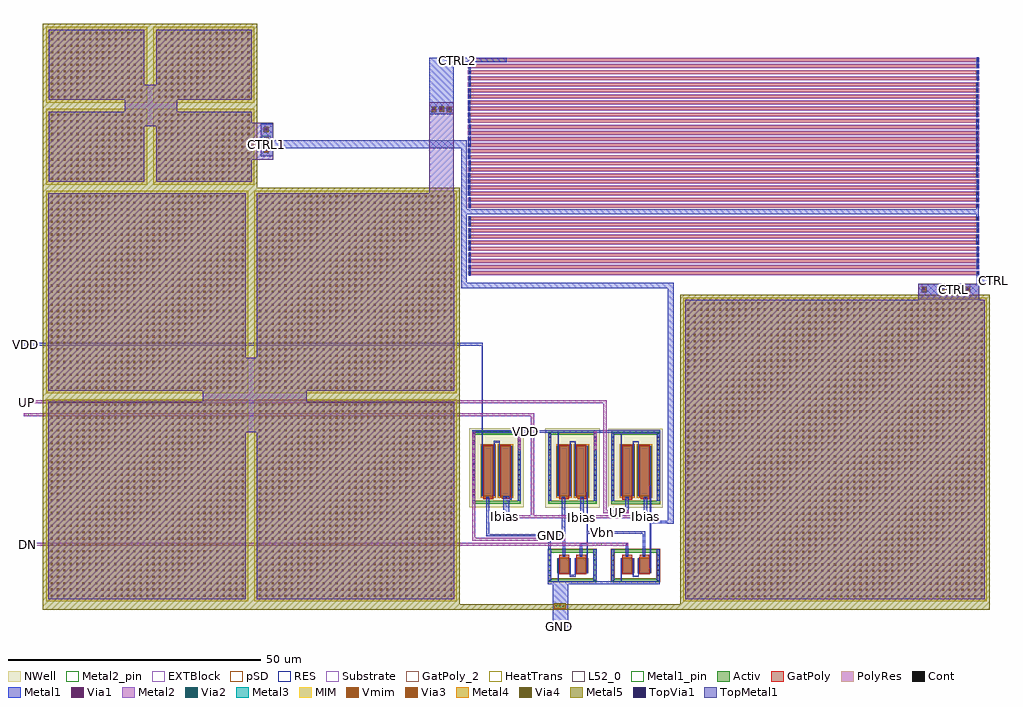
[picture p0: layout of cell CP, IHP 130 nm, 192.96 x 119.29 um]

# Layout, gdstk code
from math import pi, radians
import gdstk
lib = gdstk.Library(unit=1e-6, precision=1e-09)
def R(c, l, rs):  # rectangles x0, y0, x1, y1
    for r in rs: c.add(gdstk.rectangle(r[:2], r[2:], *l))
def A(c, l, x, y, w, h, nx, ny, dx, dy):  # array of equal rectangles
    R(c, l, [(x+i*dx, y+j*dy, x+i*dx+w, y+j*dy+h) for i in range(nx) for j in range(ny)])
def P(c, l, *ps):  # polygons
    for p in ps: c.add(gdstk.Polygon(p, *l))
Activ = (1, 0)
GatPoly = (5, 0)
GatPoly_2 = (5, 2)
Cont = (6, 0)
Metal1 = (8, 0)
Metal1_pin = (8, 2)
Metal2 = (10, 0)
Metal2_pin = (10, 2)
pSD = (14, 0)
Via1 = (19, 0)
RES = (24, 0)
Via2 = (29, 0)
Metal3 = (30, 0)
NWell = (31, 0)
MIM = (36, 0)
Substrate = (40, 0)
Via3 = (49, 0)
Metal4 = (50, 0)
HeatTrans = (51, 0)
L52_0 = (52, 0)
Via4 = (66, 0)
Metal5 = (67, 0)
EXTBlock = (111, 0)
TopVia1 = (125, 0)
TopMetal1 = (126, 0)
PolyRes = (128, 0)
Vmim = (129, 0)

rsil_1 = lib.new_cell('rsil$1')
R(rsil_1, GatPoly, [(0,-0.35,0.5,0), (0,100,0.5,100.35)])
R(rsil_1, Cont, [(0.07,-0.28,0.43,-0.12), (0.07,100.12,0.43,100.28)])
R(rsil_1, Metal1, [(0.02,-0.33,0.48,-0.07), (0.02,100.07,0.48,100.33)])
R(rsil_1, Metal1_pin, [(0.02,-0.33,0.48,-0.07), (0.02,100.07,0.48,100.33)])
R(rsil_1, RES, [(0,0,0.5,100)])
R(rsil_1, L52_0, [(0,0,0.5,100)])
R(rsil_1, EXTBlock, [(-0.18,-0.53,0.68,0), (-0.18,0,0.68,100), (-0.18,0,0.68,100.53)])
R(rsil_1, PolyRes, [(0,0,0.5,100)])
rsil_1.add(gdstk.Label('rsil r=1.39k', (0.25,50), layer=63, texttype=0))
rsil_1.add(gdstk.Label('rsil', (0.25,50), layer=52, texttype=0))

pmos_1_2 = lib.new_cell('pmos$1$2')
R(pmos_1_2, Activ, [(0,0,0.3,0.3), (0,0,2.68,10), (2.38,0,2.68,0.3)])
R(pmos_1_2, GatPoly, [(0.34,-0.18,2.34,10.18), (0.34,-0.18,2.34,10.18)])
A(pmos_1_2, Cont, 0.07, 0.07, 0.16, 0.16, 1, 4, 0, 0.345)
A(pmos_1_2, Cont, 2.45, 0.07, 0.16, 0.16, 1, 4, 0, 0.345)
A(pmos_1_2, Cont, 0.07, 1.455, 0.16, 0.16, 1, 3, 0, 0.345)
A(pmos_1_2, Cont, 2.45, 1.455, 0.16, 0.16, 1, 3, 0, 0.345)
A(pmos_1_2, Cont, 0.07, 2.495, 0.16, 0.16, 1, 4, 0, 0.345)
A(pmos_1_2, Cont, 2.45, 2.495, 0.16, 0.16, 1, 4, 0, 0.345)
A(pmos_1_2, Cont, 0.07, 3.88, 0.16, 0.16, 1, 3, 0, 0.345)
A(pmos_1_2, Cont, 2.45, 3.88, 0.16, 0.16, 1, 3, 0, 0.345)
A(pmos_1_2, Cont, 0.07, 4.92, 0.16, 0.16, 1, 4, 0, 0.345)
A(pmos_1_2, Cont, 2.45, 4.92, 0.16, 0.16, 1, 4, 0, 0.345)
A(pmos_1_2, Cont, 0.07, 6.305, 0.16, 0.16, 1, 3, 0, 0.345)
A(pmos_1_2, Cont, 2.45, 6.305, 0.16, 0.16, 1, 3, 0, 0.345)
A(pmos_1_2, Cont, 0.07, 7.345, 0.16, 0.16, 1, 4, 0, 0.345)
A(pmos_1_2, Cont, 2.45, 7.345, 0.16, 0.16, 1, 4, 0, 0.345)
A(pmos_1_2, Cont, 0.07, 8.73, 0.16, 0.16, 1, 3, 0, 0.345)
A(pmos_1_2, Cont, 2.45, 8.73, 0.16, 0.16, 1, 3, 0, 0.345)
R(pmos_1_2, Cont, [(0.07,9.77,0.23,9.93), (2.45,9.77,2.61,9.93)])
R(pmos_1_2, Metal1, [(0.07,0,0.23,10), (0.07,0,0.23,10), (2.45,0,2.61,10), (2.45,0,2.61,10)])
R(pmos_1_2, pSD, [(-0.18,-0.3,2.86,10.3)])
R(pmos_1_2, NWell, [(-0.31,-0.31,2.99,10.31)])
R(pmos_1_2, Substrate, [(2.38,0,2.68,0.3)])
R(pmos_1_2, HeatTrans, [(0.34,-0.18,2.34,10.18)])
pmos_1_2.add(gdstk.Label('pmos', (1.34,5), layer=63, texttype=0))
pmos_1_2.add(gdstk.Label('pmos', (1.34,5), layer=51, texttype=0))

nmos_1_2 = lib.new_cell('nmos$1$2')
R(nmos_1_2, Activ, [(0,0,0.3,0.3), (0,0,2.68,3), (2.38,0,2.68,0.3)])
R(nmos_1_2, GatPoly, [(0.34,-0.18,2.34,3.18)])
R(nmos_1_2, GatPoly_2, [(0.34,-0.18,2.34,3.18)])
A(nmos_1_2, Cont, 0.07, 0.07, 0.16, 0.16, 1, 7, 0, 0.385)
A(nmos_1_2, Cont, 2.45, 0.07, 0.16, 0.16, 1, 7, 0, 0.385)
R(nmos_1_2, Cont, [(0.07,2.77,0.23,2.93), (2.45,2.77,2.61,2.93)])
R(nmos_1_2, Metal1, [(0.07,0,0.23,3), (2.45,0,2.61,3)])
R(nmos_1_2, Metal1_pin, [(0.07,0,0.23,3), (2.45,0,2.61,3)])
R(nmos_1_2, HeatTrans, [(0.34,-0.18,2.34,3.18)])
nmos_1_2.add(gdstk.Label('nmos', (1.34,1.5), layer=63, texttype=0))
nmos_1_2.add(gdstk.Label('nmos', (1.34,1.5), layer=51, texttype=0))

cmim_5_1 = lib.new_cell('cmim$5$1')
R(cmim_5_1, MIM, [(0,0,60,60)])
R(cmim_5_1, Metal5, [(-0.6,-0.6,60.6,60.6)])
R(cmim_5_1, TopMetal1, [(0.385,0.385,59.605,59.605)])
A(cmim_5_1, Vmim, 0.805, 0.805, 0.42, 0.42, 47, 47, 1.26, 1.26)

cmim_2_1 = lib.new_cell('cmim$2$1')
R(cmim_2_1, MIM, [(0,0,40,40)])
R(cmim_2_1, Metal5, [(-0.6,-0.6,40.6,40.6)])
R(cmim_2_1, TopMetal1, [(0.465,0.465,39.525,39.525)])
A(cmim_2_1, Vmim, 0.885, 0.885, 0.42, 0.42, 31, 31, 1.26, 1.26)

cmim_1_1 = lib.new_cell('cmim$1$1')
R(cmim_1_1, MIM, [(0,0,15,20)])
R(cmim_1_1, Metal5, [(-0.6,-0.6,15.6,20.6)])
R(cmim_1_1, TopMetal1, [(0.565,0.545,14.425,19.445)])
A(cmim_1_1, Vmim, 0.985, 0.965, 0.42, 0.42, 11, 15, 1.26, 1.26)

c_cp = lib.new_cell('CP')
R(c_cp, Activ, [(-64.36,-10.105,-55.36,-9.455), (-55.36,-10.105,-54.72,-4.3), (-42.865,-10.105,-42.225,-4.3), (-51.86,-10.1,-42.86,-9.45), (-64.36,-9.455,-63.72,-3.665), (-51.865,-9.455,-51.225,-3.665), (-63.72,-4.3,-54.72,-3.66), (-51.225,-4.3,-42.225,-3.66), (-51.83,5.285,-51.19,19.575), (-51.19,5.285,-42.19,5.925), (-64.31,5.315,-63.67,19.605), (-63.67,5.315,-54.67,5.955), (-79.33,5.335,-78.69,19.625), (-78.69,5.335,-69.69,5.975), (-42.83,5.925,-42.19,18.935), (-55.31,5.955,-54.67,18.965), (-70.33,5.975,-69.69,18.985), (-51.19,18.935,-42.19,19.575), (-63.67,18.965,-54.67,19.605), (-78.69,18.985,-69.69,19.625)])
R(c_cp, GatPoly, [(-58.735,-5.27,-56.77,-4.75), (-46.24,-5.27,-44.275,-4.75), (-62.135,-5.255,-60.17,-4.735), (-49.64,-5.255,-47.675,-4.735), (-49.62,6.17,-47.705,6.69), (-62.065,6.2,-60.185,6.72), (-77.105,6.22,-75.205,6.74), (-46.005,6.235,-44.245,6.755), (-58.485,6.265,-56.79,6.785), (-73.505,6.285,-71.755,6.805)])
R(c_cp, Cont, [(-64.08,-9.935,-63.92,-9.775), (-51.575,-9.915,-51.415,-9.755), (-42.62,-9.9,-42.46,-9.74), (-55.14,-9.865,-54.98,-9.705), (-64.09,-8.91,-63.93,-8.75), (-51.585,-8.89,-51.425,-8.73), (-42.63,-8.875,-42.47,-8.715), (-55.15,-8.84,-54.99,-8.68), (-64.08,-7.925,-63.92,-7.765), (-51.575,-7.905,-51.415,-7.745), (-42.62,-7.89,-42.46,-7.73), (-55.14,-7.855,-54.98,-7.695), (-64.055,-6.935,-63.895,-6.775), (-51.55,-6.915,-51.39,-6.755), (-42.595,-6.9,-42.435,-6.74), (-55.115,-6.865,-54.955,-6.705), (-64.085,-5.915,-63.925,-5.755), (-51.58,-5.895,-51.42,-5.735), (-42.625,-5.88,-42.465,-5.72), (-55.145,-5.845,-54.985,-5.685), (-45.395,-5.055,-45.235,-4.895), (-57.915,-5.045,-57.755,-4.885), (-48.815,-5.03,-48.655,-4.87), (-61.33,-5.025,-61.17,-4.865), (-64.085,-4.925,-63.925,-4.765), (-51.58,-4.905,-51.42,-4.745), (-42.625,-4.89,-42.465,-4.73), (-55.145,-4.855,-54.985,-4.695), (-57.645,6.42,-57.485,6.58), (-61.32,6.425,-61.16,6.585), (-48.755,6.435,-48.595,6.595), (-45.12,6.44,-44.96,6.6), (-76.355,6.445,-76.195,6.605), (-72.665,6.455,-72.505,6.615), (-51.6,6.93,-51.44,7.09), (-55.1,6.935,-54.94,7.095), (-64.115,6.94,-63.955,7.1), (-42.64,6.94,-42.48,7.1), (-70.12,6.98,-69.96,7.14), (-79.1,7.015,-78.94,7.175), (-51.59,7.915,-51.43,8.075), (-55.09,7.92,-54.93,8.08), (-64.105,7.925,-63.945,8.085), (-42.63,7.925,-42.47,8.085), (-70.11,7.965,-69.95,8.125), (-79.09,8,-78.93,8.16), (-51.6,8.94,-51.44,9.1), (-55.1,8.945,-54.94,9.105), (-64.115,8.95,-63.955,9.11), (-42.64,8.95,-42.48,9.11), (-70.12,8.99,-69.96,9.15), (-79.1,9.025,-78.94,9.185), (-51.59,9.925,-51.43,10.085), (-55.09,9.93,-54.93,10.09), (-64.105,9.935,-63.945,10.095), (-42.63,9.935,-42.47,10.095), (-70.11,9.975,-69.95,10.135), (-79.09,10.01,-78.93,10.17), (-51.565,10.915,-51.405,11.075), (-55.065,10.92,-54.905,11.08), (-64.08,10.925,-63.92,11.085), (-42.605,10.925,-42.445,11.085), (-70.085,10.965,-69.925,11.125), (-79.065,11,-78.905,11.16), (-51.595,11.935,-51.435,12.095), (-55.095,11.94,-54.935,12.1), (-64.11,11.945,-63.95,12.105), (-42.635,11.945,-42.475,12.105), (-70.115,11.985,-69.955,12.145), (-79.095,12.02,-78.935,12.18), (-51.595,12.925,-51.435,13.085), (-55.095,12.93,-54.935,13.09), (-64.11,12.935,-63.95,13.095), (-42.635,12.935,-42.475,13.095), (-70.115,12.975,-69.955,13.135), (-79.095,13.01,-78.935,13.17), (-51.595,13.905,-51.435,14.065), (-55.095,13.91,-54.935,14.07), (-64.11,13.915,-63.95,14.075), (-42.635,13.915,-42.475,14.075), (-70.115,13.955,-69.955,14.115), (-79.095,13.99,-78.935,14.15), (-51.6,14.905,-51.44,15.065), (-55.1,14.91,-54.94,15.07), (-64.115,14.915,-63.955,15.075), (-42.64,14.915,-42.48,15.075), (-70.12,14.955,-69.96,15.115), (-79.1,14.99,-78.94,15.15), (-51.58,15.94,-51.42,16.1), (-55.08,15.945,-54.92,16.105), (-64.095,15.95,-63.935,16.11), (-42.62,15.95,-42.46,16.11), (-70.1,15.99,-69.94,16.15), (-79.08,16.025,-78.92,16.185), (-51.595,16.91,-51.435,17.07), (-55.095,16.915,-54.935,17.075), (-64.11,16.92,-63.95,17.08), (-42.635,16.92,-42.475,17.08), (-70.115,16.96,-69.955,17.12), (-79.095,16.995,-78.935,17.155), (-51.585,17.665,-51.425,17.825), (-55.085,17.67,-54.925,17.83), (-64.1,17.675,-63.94,17.835), (-42.625,17.675,-42.465,17.835), (-70.105,17.715,-69.945,17.875), (-79.085,17.75,-78.925,17.91), (-51.575,18.425,-51.415,18.585), (-55.075,18.43,-54.915,18.59), (-64.09,18.435,-63.93,18.595), (-42.615,18.435,-42.455,18.595), (-70.095,18.475,-69.935,18.635), (-79.075,18.51,-78.915,18.67), (-51.575,19.165,-51.415,19.325), (-55.075,19.17,-54.915,19.33), (-64.09,19.175,-63.93,19.335), (-42.615,19.175,-42.455,19.335), (-70.095,19.215,-69.935,19.375), (-79.075,19.25,-78.915,19.41)])
R(c_cp, Metal1, [(-63.385,-19.065,-60.36,-10.535), (-63.14,-15.5,-60.83,-14.38), (-64.36,-10.535,-63.72,-3.665), (-63.72,-10.535,-55.36,-10.005), (-62.42,-10.535,-62.25,-7.18), (-55.36,-10.535,-54.72,-3.66), (-54.73,-10.535,-42.865,-10.005), (-49.925,-10.535,-49.755,-7.18), (-42.865,-10.535,-42.225,-3.66), (-51.865,-10.01,-51.225,-3.665), (-60.045,-9.08,-59.875,-7.565), (-59.875,-9.08,-59.02,-8.69), (-59.02,-9.08,-58.85,-7.565), (-47.55,-9.08,-47.38,-7.565), (-47.38,-9.08,-46.525,-8.865), (-46.525,-9.08,-46.355,-7.565), (-44.18,-7.365,-43.915,8.94), (-56.63,-5.685,-56.46,-3.39), (-58.08,-5.185,-57.58,-2.515), (-61.45,-5.165,-60.95,-1.415), (-45.625,-5.165,-45.125,-0.635), (-48.975,-5.155,-48.475,-2.365), (-56.635,-5,-56.465,7.635), (-64.275,-3.845,-63.775,-1.135), (-57.58,-2.975,-56.635,-2.515), (-61.62,-1.16,-60.94,6.715), (-75.9,-1.135,-61.62,-0.685), (-76.515,-1.13,-75.9,6.77), (-56.635,-0.635,-45.125,-0.105), (-40.655,1.43,-39.505,47.98), (-43.915,1.445,-40.655,1.985), (-73.18,2.445,-72.01,6.795), (-57.94,2.445,-57.26,6.74), (-45.4,2.445,-44.72,6.73), (-49.04,3.495,-48.36,6.73), (-51.83,5.91,-51.19,19.855), (-42.83,5.925,-42.19,19.855), (-79.33,5.94,-78.715,19.905), (-64.31,5.94,-63.67,19.885), (-55.31,5.955,-54.67,19.885), (-70.33,5.975,-69.69,19.905), (-72.01,6.085,-71.64,6.32), (-71.64,6.085,-71.47,7.6), (-47.555,16.195,-47.385,17.715), (-46.52,16.2,-46.35,17.715), (-60.035,16.225,-59.865,17.745), (-59,16.23,-58.83,17.745), (-75.055,16.245,-74.885,17.765), (-74.02,16.25,-73.85,17.765), (-49.93,16.51,-49.76,19.865), (-62.41,16.54,-62.24,19.895), (-77.43,16.56,-77.26,37.16), (-74.885,17.435,-74.02,17.765), (-59.865,17.45,-59,17.745), (-47.385,17.465,-46.52,17.715), (-51.19,19.315,-42.83,19.855), (-63.67,19.345,-55.31,19.885), (-54.685,19.345,-48.66,19.875), (-78.715,19.365,-70.33,19.905), (-70.335,19.365,-64.31,19.895), (-168.03,36.62,-77.43,37.16), (8.835,45.63,20.955,48.84), (-81.515,47.98,-80.365,77.165), (-80.365,47.98,-39.51,49.005), (20.425,48.84,20.96,51.305), (20.425,48.89,24.93,50.43), (-80.015,50.435,-79.605,52.605), (20.41,51.67,20.82,53.84), (-80.01,52.92,-79.6,55.09), (20.415,54.065,20.825,56.235), (-80.05,55.355,-79.64,57.435), (20.375,56.5,20.785,58.58), (-80.035,57.765,-79.625,59.825), (20.395,58.91,20.805,60.97), (-79.995,60.155,-79.585,62.215), (20.33,61.335,20.86,64.67), (-80.365,62.575,20.335,63.58), (-80.045,63.81,-79.635,65.98), (20.375,64.955,20.785,67.125), (-80.075,66.205,-79.665,68.375), (20.42,67.365,20.83,69.535), (-80.07,68.625,-79.66,70.795), (20.35,69.77,20.76,71.94), (-80.04,71.04,-79.63,73.21), (20.38,72.185,20.79,74.355), (-80.07,73.455,-79.66,75.625), (-121.15,74.035,-118.63,80.47), (20.35,74.6,20.76,76.77), (-120.63,75.575,-81.515,77.165), (-80.065,75.805,-79.655,77.975), (20.355,76.95,20.765,79.12), (-80.045,78.185,-79.635,80.355), (20.375,79.33,20.785,81.5), (-80.075,80.6,-79.665,82.77), (20.345,81.745,20.755,83.915), (-87.86,82.33,-82.985,93.54), (-80.07,82.95,-79.66,85.12), (20.35,84.095,20.76,86.265), (-80.065,85.455,-79.655,87.48), (20.355,86.6,20.765,88.68), (-80.025,87.82,-79.615,89.925), (20.395,89.01,20.805,91.07), (-80.03,90.265,-79.62,92.275), (20.39,91.41,20.8,93.58), (-84.985,92.64,-72.45,93.54)])
R(c_cp, Metal1_pin, [(-62.82,-19.05,-61.35,-18.6), (-48.975,-2.96,-48.475,-2.365), (-64.38,-1.135,-62.91,-0.685), (-54.47,-0.635,-52.79,-0.105), (-49.04,3.495,-48.36,4.075), (-79.33,19.405,-42.19,19.855), (-168.03,36.62,-167.305,37.16), (15.165,46.875,17.07,48.33), (23.025,48.945,24.93,50.4), (-120.945,76.01,-119.13,78.09), (-82.985,92.64,-81.75,93.54)])
R(c_cp, Metal2, [(-63.125,-15.46,-60.83,-14.41), (-168.005,-2.96,-48.48,-2.365), (-79.34,-1.93,-60.95,-1.41), (-79.34,-1.41,-78.7,19.585), (-73.18,2.445,-44.72,3.045), (-67.78,3.045,-67.07,23.25), (-52.705,3.495,-48.36,4.095), (-53.385,3.5,-52.705,25.165), (-55.31,15.885,-54.67,19.575), (-70.33,15.905,-69.69,19.595), (-167.97,22.64,-67.78,23.25), (-167.975,25.165,-52.705,25.775), (18.4,47.49,18.915,47.98), (9.74,47.535,10.255,48.025), (13.74,47.65,14.255,48.14), (-120.325,75.105,-119.81,75.595), (-120.285,77.105,-119.77,77.595), (-120.26,79.09,-119.745,79.58), (-84.095,83.13,-83.58,83.62), (-87.14,83.135,-86.625,83.625), (-85.62,83.19,-85.105,83.68)])
R(c_cp, Metal2_pin, [(-168.005,-2.96,-166.96,-2.365), (-54.725,-2.96,-53.68,-2.365), (-61.69,-1.92,-60.99,-1.465), (-73.18,2.445,-72.01,3.045), (-57.94,2.445,-57.26,3.045), (-45.4,2.445,-44.72,3.045), (-50.99,3.495,-49.98,4.095), (-167.97,22.64,-166.96,23.24), (-167.975,25.17,-166.965,25.77)])
R(c_cp, pSD, [(-64.41,-10.165,-55.41,-9.395), (-55.41,-10.165,-54.65,-4.35), (-51.915,-10.165,-42.915,-9.395), (-42.915,-10.165,-42.155,-4.35), (-64.41,-9.395,-63.65,-3.59), (-51.915,-9.395,-51.155,-3.59), (-63.65,-4.35,-54.65,-3.59), (-51.155,-4.35,-42.155,-3.59)])
R(c_cp, Via1, [(-61.37,-14.985,-61.18,-14.795), (-62.755,-14.945,-62.565,-14.755), (-62.07,-14.93,-61.88,-14.74), (-48.79,-2.77,-48.6,-2.58), (-61.29,-1.755,-61.1,-1.565), (-45.165,2.565,-44.975,2.755), (-72.785,2.69,-72.595,2.88), (-57.78,2.72,-57.59,2.91), (-48.815,3.62,-48.625,3.81), (-79.125,7.615,-78.935,7.805), (-79.095,8.98,-78.905,9.17), (-79.1,10.46,-78.91,10.65), (-79.1,11.8,-78.91,11.99), (-79.075,13.245,-78.885,13.435), (-79.07,14.675,-78.88,14.865), (-79.105,16.03,-78.915,16.22), (-79.115,17.435,-78.925,17.625), (-79.2,18.955,-79.01,19.145), (18.48,47.715,18.67,47.905), (9.82,47.76,10.01,47.95), (13.82,47.875,14.01,48.065), (-120.245,75.33,-120.055,75.52), (-120.205,77.33,-120.015,77.52), (-120.18,79.32,-119.99,79.51), (-84.015,83.355,-83.825,83.545), (-87.06,83.36,-86.87,83.55), (-85.54,83.415,-85.35,83.605)])
R(c_cp, Via2, [(-61.37,-14.985,-61.18,-14.795), (-62.755,-14.945,-62.565,-14.755), (-62.07,-14.93,-61.88,-14.74), (18.48,47.715,18.67,47.905), (9.82,47.76,10.01,47.95), (13.82,47.875,14.01,48.065), (-120.245,75.33,-120.055,75.52), (-120.205,77.33,-120.015,77.52), (-120.18,79.32,-119.99,79.51), (-84.015,83.355,-83.825,83.545), (-87.06,83.36,-86.87,83.55), (-85.54,83.415,-85.35,83.605)])
R(c_cp, Metal3, [(-63.14,-15.5,-60.83,-14.38), (18.4,47.38,19.04,47.98), (9.74,47.425,10.38,48.025), (13.74,47.54,14.38,48.14), (-120.325,74.995,-119.685,75.595), (-120.285,76.995,-119.645,77.595), (-120.26,78.985,-119.62,79.585), (-84.095,83.02,-83.455,83.62), (-87.14,83.025,-86.5,83.625), (-85.62,83.08,-84.98,83.68)])
R(c_cp, NWell, [(-52.4,4.56,-41.6,20.205), (-64.88,4.59,-54.08,20.235), (-79.9,4.61,-69.1,20.255)])
R(c_cp, Via3, [(-61.37,-14.985,-61.18,-14.795), (-62.755,-14.945,-62.565,-14.755), (-62.07,-14.93,-61.88,-14.74), (18.48,47.715,18.67,47.905), (9.82,47.76,10.01,47.95), (13.82,47.875,14.01,48.065), (-120.245,75.33,-120.055,75.52), (-120.205,77.33,-120.015,77.52), (-120.18,79.32,-119.99,79.51), (-84.015,83.355,-83.825,83.545), (-87.06,83.36,-86.87,83.55), (-85.54,83.415,-85.35,83.605)])
R(c_cp, Metal4, [(-63.14,-15.44,-60.84,-14.41), (18.4,47.36,19.04,47.98), (9.74,47.405,10.38,48.025), (13.74,47.52,14.38,48.14), (-120.325,74.975,-119.685,75.595), (-120.285,76.975,-119.645,77.595), (-120.26,78.965,-119.62,79.585), (-84.095,83,-83.455,83.62), (-87.14,83.005,-86.5,83.625), (-85.62,83.06,-84.98,83.68)])
R(c_cp, Via4, [(-61.37,-14.985,-61.18,-14.795), (-62.755,-14.945,-62.565,-14.755), (-62.07,-14.93,-61.88,-14.74), (18.48,47.715,18.67,47.905), (9.82,47.76,10.01,47.95), (13.82,47.875,14.01,48.065), (-120.245,75.33,-120.055,75.52), (-120.205,77.33,-120.015,77.52), (-120.18,79.32,-119.99,79.51), (-84.015,83.355,-83.825,83.545), (-87.06,83.36,-86.87,83.55), (-85.54,83.415,-85.35,83.605)])
R(c_cp, Metal5, [(-63.14,-15.5,-60.84,-14.35), (-130.91,20.99,-113.89,32.565), (18.055,47.14,19.16,48.27), (9.51,47.185,10.5,48.26), (13.525,47.3,14.5,48.335), (-120.53,74.755,-119.565,75.835), (-120.46,76.755,-119.525,77.81), (-120.51,78.745,-119.5,79.91), (-146.92,81.235,-140.06,87.19), (-84.35,82.78,-83.335,83.875), (-87.335,82.785,-86.38,83.855), (-85.845,82.84,-84.86,83.92)])
P(c_cp, Metal5, [(-164.175,-15.6),(-164.175,-14.575),(22.995,-14.575),(22.995,-14.32),(22.995,-15.6)])
R(c_cp, TopVia1, [(18.4,47.56,18.82,47.98), (9.74,47.605,10.16,48.025), (13.74,47.72,14.16,48.14), (-120.325,75.175,-119.905,75.595), (-120.285,77.175,-119.865,77.595), (-120.26,79.16,-119.84,79.58), (-84.095,83.2,-83.675,83.62), (-87.14,83.205,-86.72,83.625), (-85.62,83.26,-85.2,83.68)])
R(c_cp, TopMetal1, [(-132.545,19.465,-111.995,34.18), (8.835,45.63,20.955,48.84), (-87.86,66.75,-82.935,84.675), (-122.92,73.335,-118.63,80.695), (-148.055,79.99,-137.64,88.22)])
r = gdstk.Reference(rsil_1, (20.425,50.705), rotation=pi/2); r.repetition = gdstk.Repetition(10, 1, v1=(0,1.2), v2=(0,0)); c_cp.add(r)
c_cp.add(gdstk.Reference(pmos_1_2, (-62.475,6.825)))
c_cp.add(gdstk.Reference(pmos_1_2, (-59.065,6.825)))
c_cp.add(gdstk.Reference(pmos_1_2, (-77.495,6.845)))
c_cp.add(gdstk.Reference(nmos_1_2, (-62.475,-8.4)))
c_cp.add(gdstk.Reference(nmos_1_2, (-59.09,-8.405)))
c_cp.add(gdstk.Reference(pmos_1_2, (-74.085,6.845)))
c_cp.add(gdstk.Reference(nmos_1_2, (-49.98,-8.4)))
c_cp.add(gdstk.Reference(nmos_1_2, (-46.595,-8.405)))
c_cp.add(gdstk.Reference(cmim_5_1, (-37.585,-13.975)))
r = gdstk.Reference(cmim_2_1, (-163.575,-13.975)); r.repetition = gdstk.Repetition(2, 2, v1=(41.2,0), v2=(0,41.2)); c_cp.add(r)
c_cp.add(gdstk.Reference(pmos_1_2, (-49.995,6.795)))
c_cp.add(gdstk.Reference(pmos_1_2, (-46.585,6.795)))
r = gdstk.Reference(rsil_1, (20.375,64), rotation=pi/2); r.repetition = gdstk.Repetition(25, 1, v1=(0,1.2), v2=(0,0)); c_cp.add(r)
r = gdstk.Reference(cmim_1_1, (-122.375,68.425), rotation=pi/2); r.repetition = gdstk.Repetition(2, 2, v1=(0,16.2), v2=(-21.2,0)); c_cp.add(r)
c_cp.add(gdstk.Label('CTRL2', (-82.175,93.035), layer=8, texttype=25))
c_cp.add(gdstk.Label('CTRL1', (-120.06,76.425), layer=8, texttype=25))
c_cp.add(gdstk.Label('VDD', (-167.675,36.765), layer=8, texttype=25))
c_cp.add(gdstk.Label('VDD', (-68.685,19.645), layer=8, texttype=25))
c_cp.add(gdstk.Label('CTRL', (15.82,47.67), layer=8, texttype=25))
c_cp.add(gdstk.Label('GND', (-62.11,-18.835), layer=8, texttype=25))
c_cp.add(gdstk.Label('GND', (-63.705,-0.925), layer=8, texttype=25))
c_cp.add(gdstk.Label('Vbn', (-53.635,-0.365), layer=8, texttype=25))
c_cp.add(gdstk.Label('CTRL', (23.675,49.56), layer=8, texttype=25))
c_cp.add(gdstk.Label('UP', (-167.53,25.4), layer=10, texttype=25))
c_cp.add(gdstk.Label('Ibias', (-167.52,22.81), layer=10, texttype=25))
c_cp.add(gdstk.Label('DN', (-167.315,-2.79), layer=10, texttype=25))
c_cp.add(gdstk.Label('DN', (-54.21,-2.675), layer=10, texttype=25))
c_cp.add(gdstk.Label('Ibias', (-45.07,2.745), layer=10, texttype=25))
c_cp.add(gdstk.Label('UP', (-50.55,3.645), layer=10, texttype=25))
c_cp.add(gdstk.Label('Ibias', (-72.865,2.885), layer=10, texttype=25))
c_cp.add(gdstk.Label('Ibias', (-57.77,2.555), layer=10, texttype=25))

lib.write_gds('CP.gds')
